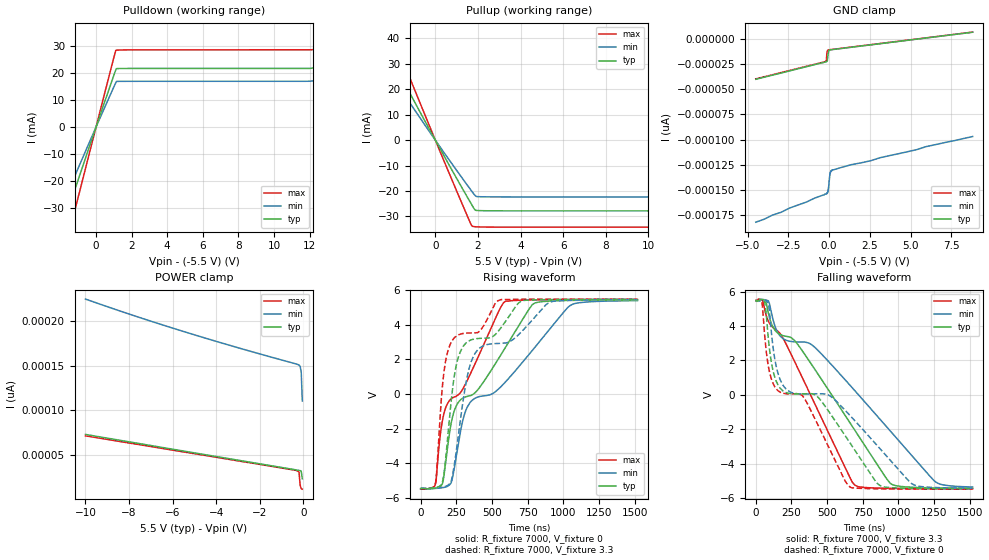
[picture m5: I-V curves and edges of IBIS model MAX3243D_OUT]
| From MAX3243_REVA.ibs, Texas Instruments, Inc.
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[Model]   MAX3243D_OUT
Model_type  3-state
Enable   Active-High
Vref =   0.0
Rref =   3000
Cref =   150p
Vmeas =   1.5
| variable   typ   min   max
C_comp   2.50pF   2.11pF   2.83pF
| C_pullup   2.74pF   2.10pF   3.19pF
| C_pulldown   2.74pF   2.10pF   3.19pF
| C_tri-state   2.50pF   2.11pF   2.83pF
[Temperature Range]   40   100   -40
| Ambient temperature   25   85   -40
|[Voltage range]   3.3   3   3.6
[GND Clamp Reference]   -5.5   -5.5   -5.5
[POWER Clamp Reference]   5.5   5.5   5.5
[Pulldown Reference]   -5.5   -5.5   -5.5
[Pullup Reference]   5.5   5.5   5.5
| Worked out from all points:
|   slope of the pulldown table from 0 to 1.65 V, typ, clamps not added: 75.8 ohm
|   slope of the pullup table from 0 to 1.65 V, typ, clamps not added: 67.2 ohm
|   rising waveform, R_fixture 7000, V_fixture 0: 20-80 % time 451ns typ, 597ns min, 339ns max; typ from -5.46 V to 5.43 V
|   falling waveform, R_fixture 7000, V_fixture 3.3: 20-80 % time 536ns typ, 873ns min, 381ns max; typ from 5.48 V to -5.41 V
|   rising waveform, R_fixture 7000, V_fixture 3.3: 20-80 % time 318ns typ, 416ns min, 121ns max; typ from -5.44 V to 5.47 V
|   falling waveform, R_fixture 7000, V_fixture 0: 20-80 % time 611ns typ, 771ns min, 462ns max; typ from 5.45 V to -5.45 V
[GND Clamp]
| MAX3243D_OUT_33
|   Voltage   I(typ)   I(min)   I(max)
-4.5V     -40.2pA    -182pA     -39.8pA
-265mV    -23.2pA    -154pA     -22.8pA
-175mV    -22.8pA    -154pA     -21.5pA
-150mV    -22.6pA    -154pA     -16.7pA
-110mV    -21.5pA    -153pA     -12.1pA
-65mV     -15.5pA    -151pA     -11.2pA
-20mV     -12.1pA    -145pA     -11pA
25mV      -11.3pA    -137pA     -10.9pA
60mV      -11.1pA    -133pA     -10.8pA
180mV     -10.8pA    -130pA     -10.6pA
5.95V     773fA      -107pA     940fA
8.8V      6.48pA     -97pA      6.63pA
[POWER Clamp]
| MAX3243D_OUT_33
|   Voltage   I(typ)   I(min)   I(max)
-10V      72.77pA    225.1pA    71.18pA
-7.85V    63.82pA    207.1pA    62.53pA
-5.5V     54.09pA    188.6pA    53.09pA
-3.1V     44.2pA     171.1pA    43.44pA
-400mV    33.13pA    152.5pA    32.59pA
-300mV    32.72pA    151.8pA    32.01pA
-200mV    32.3pA     150.9pA    30.3pA
-150mV    32.04pA    149.5pA    15.69pA
-100mV    31.47pA    143.1pA    11.66pA
-50mV     22.79pA    110.4pA    11.17pA
[Pulldown]
| MAX3243D_OUT_33
|   Voltage   I(typ)   I(min)   I(max)
-4.5V     -88.07mA   -69.2mA    -115.6mA
-2.57V    -50.42mA   -39.47mA   -66.52mA
-1.85V    -36.22mA   -28.3mA    -47.96mA
-1.545V   -30.21mA   -23.59mA   -40.08mA
-1.265V   -24.71mA   -19.27mA   -32.84mA
1.12V     21.39mA    16.6mA     28.54mA
12.18V    21.96mA    17.18mA    28.77mA
12.66V    23.84mA    18.62mA    31.23mA
13.26V    28.02mA    21.78mA    37.24mA
14.22V    37.63mA    29.03mA    51.03mA
15.09V    47.97mA    36.88mA    65.7mA
15.5V     53.38mA    41mA       73.31mA
[Pullup]
| MAX3243D_OUT_33
|   Voltage   I(typ)   I(min)   I(max)
-10V      147.7mA    116.6mA    197.5mA
-3.7V     57.5mA     45.68mA    75.82mA
-3.55V    55.17mA    43.83mA    72.76mA
-2.9V     45.07mA    35.78mA    59.47mA
-2.25V    34.93mA    27.71mA    46.12mA
-2V       31.03mA    24.61mA    40.98mA
550mV     -8.319mA   -6.582mA   -11.05mA
1.65V     -24.54mA   -19.39mA   -32.68mA
1.75V     -25.98mA   -20.53mA   -33.9mA
1.9V      -27.59mA   -22.03mA   -34.06mA
2.15V     -27.72mA   -22.25mA   -34.14mA
10V       -27.8mA    -22.32mA   -34.21mA
[Ramp]
| MAX3243D_OUT_33
| variable   typ   min   max
dV/dt_r   6.54/4.51E-07   6.51/5.97E-07   6.56/3.39E-07
dV/dt_f   6.58/5.47E-07   6.53/8.78E-07   6.60/3.86E-07
R_load = 7000
[Rising Waveform]
| MAX3243D_OUT_33
R_fixture =   7000
C_fixture =   0
L_fixture =   0
V_fixture =   0
V_fixture_min = 0
V_fixture_max = 0
|   Time   V(typ)   V(min)   V(max)
0s        -5.46V     -5.448V    -5.47V
103ns     -5.423V    -5.44V     -5.201V
152ns     -5.186V    -5.398V    -1.554V
208.5ns   -1.918V    -5.179V    -309.5mV
255.1ns   -589.3mV   -3.331V    -89.96mV
327.4ns   -128.7mV   -740.9mV   801.3mV
584.8ns   2.566V     618.7mV    5.298V
789.1ns   5.201V     2.583V     5.434V
1.05us    5.407V     5.121V     5.449V
1.52us    5.434V     5.396V     5.456V
[Falling Waveform]
| MAX3243D_OUT_33
R_fixture =   7000
C_fixture =   0
L_fixture =   0
V_fixture =   3.3
V_fixture_min = 3
V_fixture_max = 3.6
|   Time   V(typ)   V(min)   V(max)
0s        5.48V      5.471V     5.487V
48.42ns   5.527V     5.54V      5.459V
88.36ns   4.745V     5.456V     4.28V
179.2ns   3.476V     3.348V     3.46V
266ns     3.202V     3.086V     2.042V
392.1ns   1.755V     2.91V      -140.3mV
692.2ns   -2.021V    268.2mV    -5.21V
956.8ns   -5.199V    -2.222V    -5.422V
1.264us   -5.394V    -5.061V    -5.439V
1.52us    -5.414V    -5.346V    -5.444V
[Rising Waveform]
| MAX3243D_OUT_33
R_fixture =   7000
C_fixture =   0
L_fixture =   0
V_fixture =   3.3
V_fixture_min = 3
V_fixture_max = 3.6
|   Time   V(typ)   V(min)   V(max)
0s        -5.436V    -5.42V     -5.45V
106.3ns   -5.389V    -5.407V    -5.03V
150.7ns   -5.129V    -5.365V    281.2mV
240.8ns   1.289V     -3.808V    3.285V
329.5ns   3.026V     1.123V     3.525V
409.1ns   3.214V     2.63V      3.603V
563.9ns   3.834V     2.929V     5.453V
702.7ns   5.352V     3.564V     5.473V
915.5ns   5.458V     5.329V     5.48V
1.52us    5.474V     5.456V     5.484V
[Falling Waveform]
| MAX3243D_OUT_33
R_fixture =   7000
C_fixture =   0
L_fixture =   0
V_fixture =   0
V_fixture_min = 0
V_fixture_max = 0
|   Time   V(typ)   V(min)   V(max)
0s        5.449V     5.436V     5.461V
42.11ns   5.502V     5.506V     5.426V
88.28ns   3.254V     5.316V     1.666V
137.2ns   927.9mV    1.901V     419.8mV
199.7ns   188.5mV    460.4mV    84.28mV
336.6ns   66.81mV    57.07mV    -146.5mV
657.6ns   -2.747V    -1.166V    -5.322V
883.9ns   -5.31V     -3.239V    -5.449V
1.11us    -5.425V    -5.223V    -5.46V
1.52us    -5.447V    -5.416V    -5.466V
